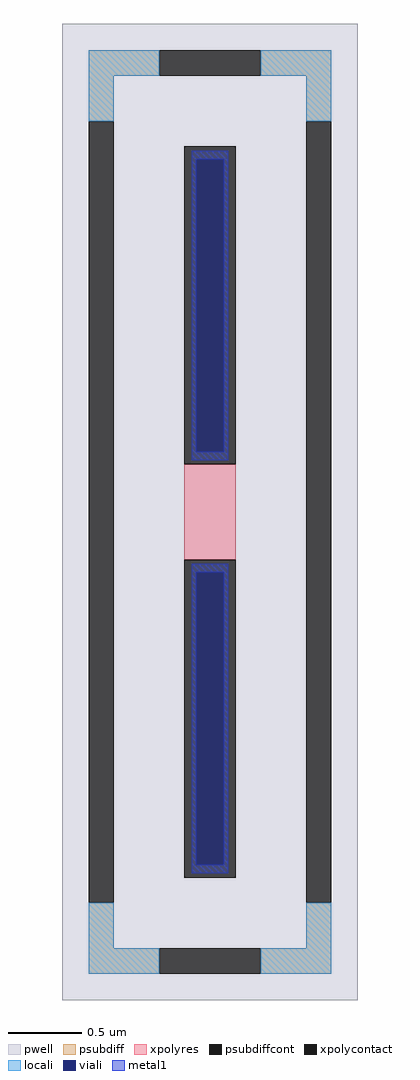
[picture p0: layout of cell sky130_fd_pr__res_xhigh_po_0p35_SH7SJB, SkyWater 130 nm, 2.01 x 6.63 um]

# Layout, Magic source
magic
tech sky130A
magscale 1 2
<< pwell >>
rect -201 -663 201 663
<< psubdiff >>
rect -165 593 -69 627
rect 69 593 165 627
rect -165 531 -131 593
rect 131 531 165 593
rect -165 -593 -131 -531
rect 131 -593 165 -531
rect -165 -627 -69 -593
rect 69 -627 165 -593
<< psubdiffcont >>
rect -69 593 69 627
rect -165 -531 -131 531
rect 131 -531 165 531
rect -69 -627 69 -593
<< xpolycontact >>
rect -35 65 35 497
rect -35 -497 35 -65
<< xpolyres >>
rect -35 -65 35 65
<< locali >>
rect -165 593 -69 627
rect 69 593 165 627
rect -165 531 -131 593
rect 131 531 165 593
rect -165 -593 -131 -531
rect 131 -593 165 -531
rect -165 -627 -69 -593
rect 69 -627 165 -593
<< viali >>
rect -19 82 19 479
rect -19 -479 19 -82
<< metal1 >>
rect -25 479 25 491
rect -25 82 -19 479
rect 19 82 25 479
rect -25 70 25 82
rect -25 -82 25 -70
rect -25 -479 -19 -82
rect 19 -479 25 -82
rect -25 -491 25 -479
<< properties >>
string FIXED_BBOX -148 -610 148 610
string gencell sky130_fd_pr__res_xhigh_po_0p35
string library sky130
string parameters w 0.350 l 0.812 m 1 nx 1 wmin 0.350 lmin 0.50 rho 2000 val 5.715k dummy 0 dw 0.0 term 188.2 sterm 0.0 caplen 0 wmax 0.350 guard 1 glc 1 grc 1 gtc 1 gbc 1 compatible {sky130_fd_pr__res_xhigh_po_0p35  sky130_fd_pr__res_xhigh_po_0p69 sky130_fd_pr__res_xhigh_po_1p41  sky130_fd_pr__res_xhigh_po_2p85 sky130_fd_pr__res_xhigh_po_5p73} snake 0 full_metal 1 n_guard 0 hv_guard 0 vias 1 viagb 0 viagt 0 viagl 0 viagr 0
<< end >>
